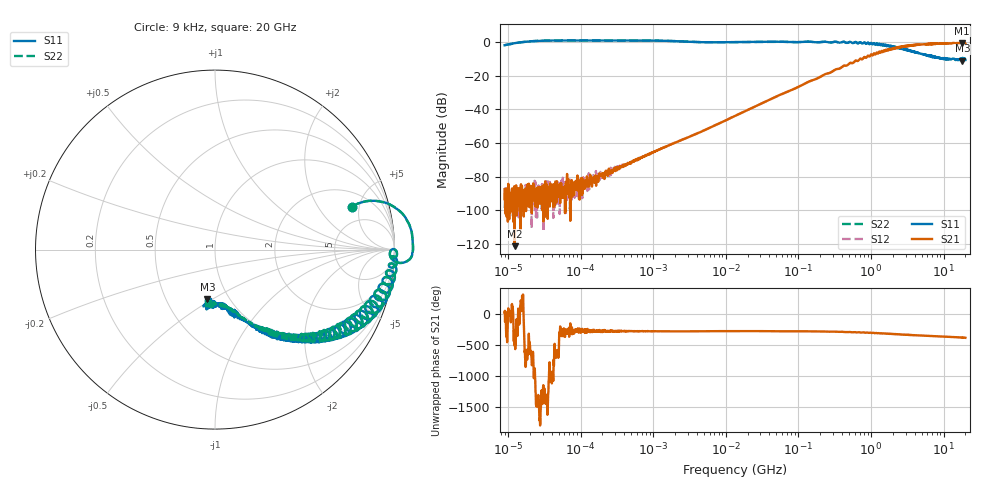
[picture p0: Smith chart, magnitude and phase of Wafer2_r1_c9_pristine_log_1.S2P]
!  2-Port S-parameters saved by WinCal
! VAR MeasName=S-Parameters (CALIBRATED_DATA) read from VNA (P5004A)
! VAR MeasDate=26/04/2024 18:18:59
! VAR NAME=Wafer2_r1_c9_pristine_log
! VAR FILENAME=Wafer2_r1_c9_pristine_log_1.S2P
! VAR DATE=26/04/2024 18:18:59
! VAR PHYS_PORTS=1,2
! VAR ObjTypeName=DATASET
! VAR IndexType=Frequency
# Hz S MA R 50
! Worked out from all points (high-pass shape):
!   2000 points, 9 kHz to 20 GHz, reference 50 ohm
!   highest |S21| = -0.61 dB at 18.05 GHz (marker M1); lowest = -121.2 dB at 12.32 kHz (marker M2)
!   |S21| within 3 dB of the highest: 2.252 GHz to 2.329 GHz (76.58 MHz wide, 3.34 % of centre); 2.334 GHz to end of sweep (the widest 2 of 4)
!   lowest |S11| = -11.1 dB at 18.19 GHz (marker M3), VSWR 1.77, Z = 39.7 - j23.7 ohm
!   |S11| at or under -10 dB: 11.47 GHz to 13.18 GHz (1.708 GHz wide, 13.9 % of centre); 14.05 GHz to 17.12 GHz (3.068 GHz wide, 19.7 % of centre); 19.16 GHz to 19.85 GHz (685.6 MHz wide, 3.51 % of centre) (the widest 3 of 16)
!   |S22| runs from -10.8 to 0.9 dB; largest |S21 - S12| = 0.036
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9000  0.7976 17.3  4.266e-05 28.5  1.177e-05 167.3  0.7978 17.3
12324.43  0.9137 17.3  8.698e-07 -30.0  3.941e-05 147.4  0.9138 17.3
28153.97  1.082 8.7  4.757e-05 -138.9  1.583e-05 129.9  1.082 8.7
103439.5  1.102 2.1  7.867e-05 75.0  4.711e-05 130.3  1.102 2.1
163949.5  1.103 1.2  5.389e-05 79.2  0.0001104 100.5  1.103 1.2
205652.7  1.103 0.8  0.0001275 91.3  0.0001058 86.8  1.103 0.8
1180198  1.09 -2.6  0.0006265 86.6  0.0006365 86.9  1.09 -2.6
4530556  0.9807 -2.6  0.002132 86.7  0.00216 86.7  0.9807 -2.6
1.346554e7  0.986 0.1  0.006358 89.1  0.006426 88.7  0.9861 0.1
1.105652e8  0.9951 -2.2  0.05133 86.5  0.05169 86.1  0.9947 -2.2
1.536358e8  1 -5.7  0.07201 82.6  0.07128 82.8  1.001 -5.6
2.966476e8  0.9821 -6.8  0.1338 81.3  0.135 81.2  0.982 -6.8
7.506948e8  0.8957 -21.3  0.3047 66.2  0.304 66.4  0.8973 -21.0
1.043128e9  0.852 -28.4  0.3979 58.7  0.3981 58.8  0.8535 -28.1
1.752917e9  0.7401 -38.2  0.5669 47.9  0.5699 47.8  0.7395 -37.9
2.945676e9  0.5949 -51.5  0.7338 32.9  0.7404 32.9  0.5971 -51.2
5.646226e9  0.4151 -68.3  0.8563 14.4  0.861 14.1  0.4127 -67.7
9.488158e9  0.3267 -82.1  0.8982 1.1  0.8884 0.9  0.3248 -78.1
1.347662e10  0.3178 -88.8  0.9305 -6.3  0.926 -7.1  0.3018 -87.4
1.805428e10  0.333 -98.2  0.9323 -15.0  0.906 -16.5  0.2876 -93.1
1.818676e10  0.2781 -98.6  0.8891 -16.5  0.8777 -14.4  0.3169 -92.0
2e10  0.2891 -97.3  0.8922 -18.3  0.9051 -17.6  0.3025 -97.8
